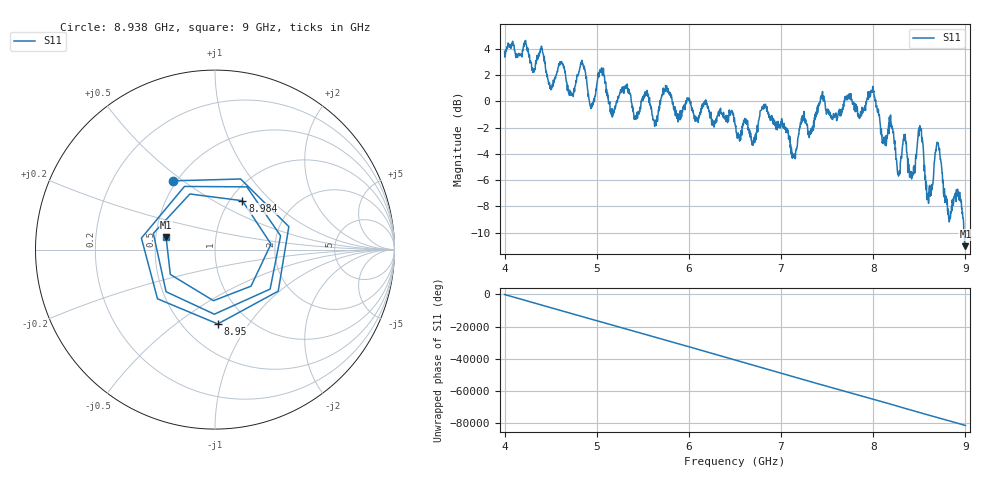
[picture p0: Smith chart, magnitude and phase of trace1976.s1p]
! Created with skrf 1.8.0 (http://scikit-rf.org).
# Hz S RI R 50.0
!freq ReS11 ImS11
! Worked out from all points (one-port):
!   1601 points, 4 GHz to 9 GHz, reference 50 ohm
!   lowest |S11| = -11.0 dB at 9 GHz (marker M1), VSWR 1.78, Z = 28.4 + j4.22 ohm
!   |S11| at or under -10 dB: 8.983548 GHz to end of sweep
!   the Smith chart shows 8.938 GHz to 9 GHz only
!   S11 on the Smith chart (normalised r, x): 8.938 GHz: 0.48, +0.46; 8.95 GHz: 0.73, -0.73; 8.984 GHz: 1.14, +0.69; 9 GHz: 0.57, +0.08
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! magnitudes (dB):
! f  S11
! 4 GHz  3.8
! 4.4 GHz  4.2
! 4.5 GHz  1.2
! 4.625 GHz  2.9
! 4.722 GHz  0.5
! 4.847 GHz  2.9
! 4.941 GHz  -0.4
! 5.05 GHz  2.3
! 5.162 GHz  -1.0
! 5.25 GHz  0.6
! 5.875 GHz  -1.2
! 6.5 GHz  -1.8
! 6.703 GHz  -3.0
! 6.822 GHz  -0.4
! 7.125 GHz  -4.0
! 7.441 GHz  0.5
! 7.75 GHz  0.6
! 7.991 GHz  0.8
! 8.269 GHz  -5.4
! 8.375 GHz  -5.4
! 8.509 GHz  -2.2
! 8.597 GHz  -7.0
! 8.697 GHz  -3.1
! 8.822 GHz  -8.7
! 8.938 GHz  -6.9
! 8.95 GHz  -7.6
! 8.984 GHz  -10.1
! 9 GHz  -11.0
